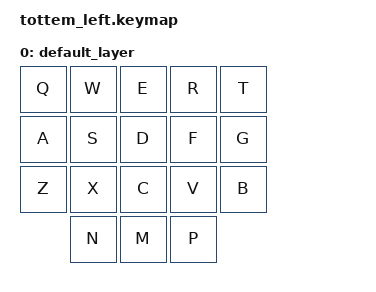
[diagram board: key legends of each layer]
#include <behaviors.dtsi>
#include <dt-bindings/zmk/keys.h>
#include <dt-bindings/zmk/bt.h>

/ {
    keymap {
        compatible = "zmk,keymap";

        /*
         * TEST LAYER ONLY.
         * Every key types a distinct letter so you can confirm each one
         * registers and find any dead / miswired key. Open a text editor,
         * press keys, and check the printed grid matches:
         *
         *   Q  W  E  R  T
         *   A  S  D  F  G
         *   Z  X  C  V  B
         *      N  M  P        (thumbs)
         */
        default_layer {
            bindings = <
                &kp Q  &kp W  &kp E  &kp R  &kp T
                &kp A  &kp S  &kp D  &kp F  &kp G
                &kp Z  &kp X  &kp C  &kp V  &kp B
                       &kp N  &kp M  &kp P
            >;
        };
    };
};
